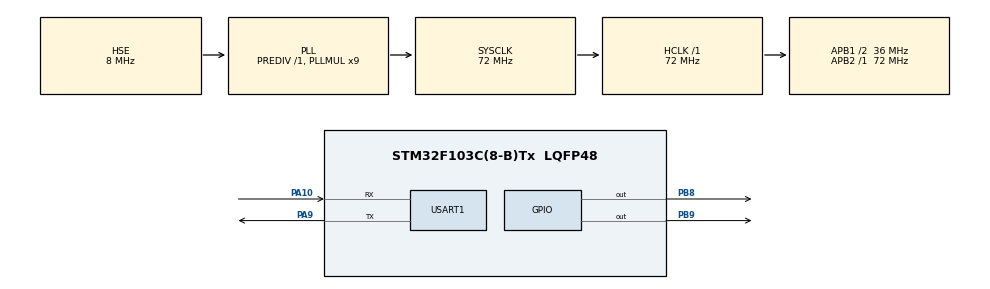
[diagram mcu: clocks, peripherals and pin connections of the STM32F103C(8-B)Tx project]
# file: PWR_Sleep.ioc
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Dma.Request0=USART1_RX
Dma.Request1=USART1_TX
Dma.USART1_RX.0.Direction=DMA_PERIPH_TO_MEMORY
Dma.USART1_RX.0.Instance=DMA1_Channel5
Dma.USART1_RX.0.MemDataAlignment=DMA_MDATAALIGN_BYTE
Dma.USART1_RX.0.MemInc=DMA_MINC_ENABLE
Dma.USART1_RX.0.Mode=DMA_NORMAL
Dma.USART1_RX.0.PeriphDataAlignment=DMA_PDATAALIGN_BYTE
Dma.USART1_RX.0.PeriphInc=DMA_PINC_DISABLE
Dma.USART1_RX.0.Priority=DMA_PRIORITY_LOW
Dma.USART1_TX.1.Direction=DMA_MEMORY_TO_PERIPH
Dma.USART1_TX.1.Instance=DMA1_Channel4
Dma.USART1_TX.1.MemDataAlignment=DMA_MDATAALIGN_BYTE
Dma.USART1_TX.1.MemInc=DMA_MINC_ENABLE
Dma.USART1_TX.1.Mode=DMA_NORMAL
Dma.USART1_TX.1.PeriphDataAlignment=DMA_PDATAALIGN_BYTE
Dma.USART1_TX.1.PeriphInc=DMA_PINC_DISABLE
Dma.USART1_TX.1.Priority=DMA_PRIORITY_LOW
Mcu.Family=STM32F1
Mcu.Name=STM32F103C(8-B)Tx
Mcu.Package=LQFP48
NVIC.DMA1_Channel4_IRQn=true\:0\:0\:false\:false\:true\:false\:true\:true
NVIC.DMA1_Channel5_IRQn=true\:0\:0\:false\:false\:true\:false\:true\:true
NVIC.PriorityGroup=NVIC_PRIORITYGROUP_4
NVIC.USART1_IRQn=true\:0\:0\:false\:false\:true\:true\:true\:true
PA10.Mode=Asynchronous
PA10.Signal=USART1_RX
PA13.Mode=Serial_Wire
PA13.Signal=SYS_JTMS-SWDIO
PA14.Mode=Serial_Wire
PA14.Signal=SYS_JTCK-SWCLK
PA9.Mode=Asynchronous
PA9.Signal=USART1_TX
PB8.GPIO_ModeDefaultOutputPP=GPIO_MODE_OUTPUT_OD
PB8.GPIO_PuPd=GPIO_NOPULL
PB8.Signal=GPIO_Output
PB9.GPIO_ModeDefaultOutputPP=GPIO_MODE_OUTPUT_OD
PB9.GPIO_PuPd=GPIO_NOPULL
PB9.Signal=GPIO_Output
PD0-OSC_IN.Mode=HSE-External-Oscillator
PD0-OSC_IN.Signal=RCC_OSC_IN
PD1-OSC_OUT.Mode=HSE-External-Oscillator
PD1-OSC_OUT.Signal=RCC_OSC_OUT
ProjectManager.HeapSize=0x200
ProjectManager.StackSize=0x400
ProjectManager.TargetToolchain=STM32CubeIDE
RCC.AHBFreq_Value=72000000
RCC.APB1CLKDivider=RCC_HCLK_DIV2
RCC.APB1Freq_Value=36000000
RCC.APB1TimFreq_Value=72000000
RCC.APB2Freq_Value=72000000
RCC.APB2TimFreq_Value=72000000
RCC.HCLKFreq_Value=72000000
RCC.PLLMUL=RCC_PLL_MUL9
RCC.PLLSourceVirtual=RCC_PLLSOURCE_HSE
RCC.SYSCLKFreq_VALUE=72000000
RCC.SYSCLKSource=RCC_SYSCLKSOURCE_PLLCLK
RCC.USBFreq_Value=72000000
USART1.VirtualMode=VM_ASYNC
board=custom

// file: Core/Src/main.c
/* USER CODE BEGIN Header */
/**
  ******************************************************************************
  * @file           : main.c
  * @brief          : Main program body
  ******************************************************************************
  * @attention
  *
  * Copyright (c) 2026 STMicroelectronics.
  * All rights reserved.
  *
  * This software is licensed under terms that can be found in the LICENSE file
  * in the root directory of this software component.
  * If no LICENSE file comes with this software, it is provided AS-IS.
  *
  ******************************************************************************
  */
/* USER CODE END Header */
#include "main.h"
#include "dma.h"
#include "usart.h"
#include "gpio.h"

/* USER CODE BEGIN PV */
uint8_t receiveData[50];
/* USER CODE END PV */

void SystemClock_Config(void);

/* USER CODE BEGIN 0 */
void HAL_UARTEx_RxEventCallback(UART_HandleTypeDef *huart, uint16_t Size)
{
	if(huart == &huart1)
	{
		HAL_UART_Transmit_DMA(&huart1, receiveData, Size);
		HAL_UARTEx_ReceiveToIdle_DMA(&huart1, receiveData, sizeof(receiveData));
	}
}
/* USER CODE END 0 */

int main(void)
{

  /* MCU Configuration--------------------------------------------------------*/

  /* Reset of all peripherals, Initializes the Flash interface and the Systick. */
  HAL_Init();

  /* Configure the system clock */
  SystemClock_Config();

  /* Initialize all configured peripherals */
  MX_GPIO_Init();
  MX_DMA_Init();
  MX_USART1_UART_Init();
  /* USER CODE BEGIN 2 */
  OLED_Init();
  OLED_ShowString(1, 1, "RxData:");
  HAL_UARTEx_ReceiveToIdle_DMA(&huart1, receiveData, sizeof(receiveData));
  /* USER CODE END 2 */

  /* Infinite loop */
  /* USER CODE BEGIN WHILE */
  while (1)
  {
	  OLED_ShowString(1, 8, receiveData);
	  OLED_ShowString(2, 1, "Running");
	  HAL_Delay(500);
	  OLED_ShowString(2, 1, "       ");
	  HAL_Delay(500);

	  HAL_SuspendTick();//暂停 SysTick 中断

	  HAL_PWR_EnterSLEEPMode(PWR_MAINREGULATOR_ON, PWR_SLEEPENTRY_WFI);

	  HAL_ResumeTick();//恢复SysTick中断
    /* USER CODE END WHILE */

  }
}

void SystemClock_Config(void)
{
  RCC_OscInitTypeDef RCC_OscInitStruct = {0};
  RCC_ClkInitTypeDef RCC_ClkInitStruct = {0};

  /** Initializes the RCC Oscillators according to the specified parameters
  * in the RCC_OscInitTypeDef structure.
  */
  RCC_OscInitStruct.OscillatorType = RCC_OSCILLATORTYPE_HSE;
  RCC_OscInitStruct.HSEState = RCC_HSE_ON;
  RCC_OscInitStruct.HSEPredivValue = RCC_HSE_PREDIV_DIV1;
  RCC_OscInitStruct.HSIState = RCC_HSI_ON;
  RCC_OscInitStruct.PLL.PLLState = RCC_PLL_ON;
  RCC_OscInitStruct.PLL.PLLSource = RCC_PLLSOURCE_HSE;
  RCC_OscInitStruct.PLL.PLLMUL = RCC_PLL_MUL9;
  if (HAL_RCC_OscConfig(&RCC_OscInitStruct) != HAL_OK)
  {
    Error_Handler();
  }

  /** Initializes the CPU, AHB and APB buses clocks
  */
  RCC_ClkInitStruct.ClockType = RCC_CLOCKTYPE_HCLK|RCC_CLOCKTYPE_SYSCLK
                              |RCC_CLOCKTYPE_PCLK1|RCC_CLOCKTYPE_PCLK2;
  RCC_ClkInitStruct.SYSCLKSource = RCC_SYSCLKSOURCE_PLLCLK;
  RCC_ClkInitStruct.AHBCLKDivider = RCC_SYSCLK_DIV1;
  RCC_ClkInitStruct.APB1CLKDivider = RCC_HCLK_DIV2;
  RCC_ClkInitStruct.APB2CLKDivider = RCC_HCLK_DIV1;

  if (HAL_RCC_ClockConfig(&RCC_ClkInitStruct, FLASH_LATENCY_2) != HAL_OK)
  {
    Error_Handler();
  }
}

void Error_Handler(void)
{
  __disable_irq();
  while (1)
  {
  }
}
